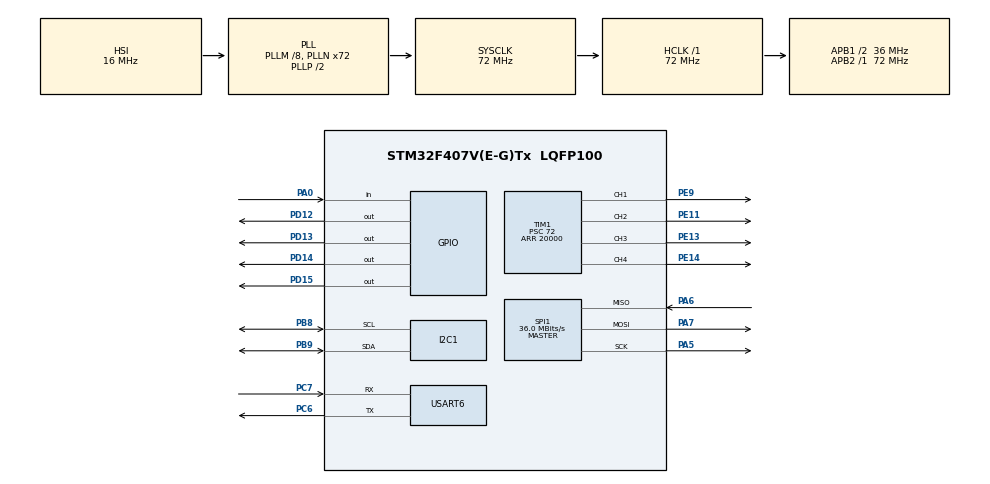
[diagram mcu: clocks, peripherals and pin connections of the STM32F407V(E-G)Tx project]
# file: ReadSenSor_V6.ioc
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I2C1.I2C_Mode=I2C_Fast
Mcu.Family=STM32F4
Mcu.Name=STM32F407V(E-G)Tx
Mcu.Package=LQFP100
NVIC.PriorityGroup=NVIC_PRIORITYGROUP_4
NVIC.TIM2_IRQn=true\:0\:0\:false\:false\:true\:true\:true\:true
PA0-WKUP.GPIO_PuPd=GPIO_PULLUP
PA0-WKUP.Signal=GPIO_Input
PA13.Mode=Serial_Wire
PA13.Signal=SYS_JTMS-SWDIO
PA14.Mode=Serial_Wire
PA14.Signal=SYS_JTCK-SWCLK
PA5.Mode=Full_Duplex_Master
PA5.Signal=SPI1_SCK
PA6.Mode=Full_Duplex_Master
PA6.Signal=SPI1_MISO
PA7.Mode=Full_Duplex_Master
PA7.Signal=SPI1_MOSI
PB8.Mode=I2C
PB8.Signal=I2C1_SCL
PB9.Mode=I2C
PB9.Signal=I2C1_SDA
PC6.Mode=Asynchronous
PC6.Signal=USART6_TX
PC7.Mode=Asynchronous
PC7.Signal=USART6_RX
PD12.Signal=GPIO_Output
PD13.Signal=GPIO_Output
PD14.Signal=GPIO_Output
PD15.Signal=GPIO_Output
PE11.Signal=S_TIM1_CH2
PE13.Signal=S_TIM1_CH3
PE14.Signal=S_TIM1_CH4
PE9.Signal=S_TIM1_CH1
PH0-OSC_IN.Mode=HSE-External-Oscillator
PH0-OSC_IN.Signal=RCC_OSC_IN
PH1-OSC_OUT.Mode=HSE-External-Oscillator
PH1-OSC_OUT.Signal=RCC_OSC_OUT
ProjectManager.HeapSize=0x200
ProjectManager.StackSize=0x400
ProjectManager.TargetToolchain=MDK-ARM V5.32
RCC.48MHZClocksFreq_Value=36000000
RCC.AHBFreq_Value=72000000
RCC.APB1CLKDivider=RCC_HCLK_DIV2
RCC.APB1Freq_Value=36000000
RCC.APB1TimFreq_Value=72000000
RCC.APB2Freq_Value=72000000
RCC.APB2TimFreq_Value=72000000
RCC.CortexFreq_Value=72000000
RCC.HCLKFreq_Value=72000000
RCC.HSE_VALUE=25000000
RCC.HSI_VALUE=16000000
RCC.LSE_VALUE=32768
RCC.PLLM=8
RCC.PLLN=72
RCC.SYSCLKFreq_VALUE=72000000
RCC.SYSCLKSource=RCC_SYSCLKSOURCE_PLLCLK
RCC.VCOOutputFreq_Value=144000000
SH.S_TIM1_CH1.0=TIM1_CH1,PWM Generation1 CH1
SH.S_TIM1_CH2.0=TIM1_CH2,PWM Generation2 CH2
SH.S_TIM1_CH3.0=TIM1_CH3,PWM Generation3 CH3
SH.S_TIM1_CH4.0=TIM1_CH4,PWM Generation4 CH4
SPI1.CalculateBaudRate=36.0 MBits/s
SPI1.Direction=SPI_DIRECTION_2LINES
SPI1.Mode=SPI_MODE_MASTER
SPI1.VirtualType=VM_MASTER
TIM1.AutoReloadPreload=TIM_AUTORELOAD_PRELOAD_ENABLE
TIM1.Channel-PWM\ Generation1\ CH1=TIM_CHANNEL_1
TIM1.Channel-PWM\ Generation2\ CH2=TIM_CHANNEL_2
TIM1.Channel-PWM\ Generation3\ CH3=TIM_CHANNEL_3
TIM1.Channel-PWM\ Generation4\ CH4=TIM_CHANNEL_4
TIM1.Period=20000
TIM1.Prescaler=72
TIM1.Pulse-PWM\ Generation1\ CH1=955
TIM1.Pulse-PWM\ Generation2\ CH2=955
TIM1.Pulse-PWM\ Generation3\ CH3=955
TIM1.Pulse-PWM\ Generation4\ CH4=955
TIM2.Period=72000000
USART6.VirtualMode=VM_ASYNC
VP_TIM1_VS_ClockSourceINT.Mode=Internal
VP_TIM2_VS_ClockSourceINT.Mode=Internal
board=custom

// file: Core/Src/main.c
/* USER CODE BEGIN Header */
/**
  ******************************************************************************
  * @file           : main.c
  * @brief          : Main program body
  ******************************************************************************
  * @attention
  *
  * Copyright (c) 2023 STMicroelectronics.
  * All rights reserved.
  *
  * This software is licensed under terms that can be found in the LICENSE file
  * in the root directory of this software component.
  * If no LICENSE file comes with this software, it is provided AS-IS.
  *
  ******************************************************************************
  */
/* USER CODE END Header */
#include "main.h"
#include "i2c.h"
#include "spi.h"
#include "tim.h"
#include "usart.h"
#include "gpio.h"

/* USER CODE BEGIN Includes */
#include "code.h"
/* USER CODE END Includes */

/* USER CODE BEGIN PV */

int enable = 0;
//Sensor
MPU6050_t MPU6050;
MPU6050_t MPU6050_LP;
MS5611_t MS5611;
//Lowpass
Lowpass_t LP_height = {0};
//Quaternions
Quaternion_t Q_est = {1,0,0,0};
//Brushless
Motor_t M1 = {
	.Duty = 0,
	.Duty_base = 15,
	.Duty_min = 955,
	.Duty_max = 1400,
};
Motor_t M2 = {
	.Duty = 0,
	.Duty_base = 15,
	.Duty_min = 955,
	.Duty_max = 1400,
};
Motor_t M3 = {
	.Duty = 0,
	.Duty_base = 15,
	.Duty_min = 955,
	.Duty_max = 1400,
};
Motor_t M4 = {
	.Duty = 0,
	.Duty_base = 15,
	.Duty_min = 955,
	.Duty_max = 1400,
};
//PID
PID_t PID_roll = {
	.Kp = 0,
	.Ki = 0,
	.Kd = 0,
	.e = 0,
	.e_pre = 0,
	.v_e = 0,
	.e_i = 0,
	.range = 0,
	.Upper_limit = 100,
	.Lower_limit = -100,
};
PID_t PID_pitch = {
	.Kp = 0,
	.Ki = 0,
	.Kd = 0,
	.e = 0,
	.e_pre = 0,
	.v_e = 0,
	.e_i = 0,
	.range = 1,
	.Upper_limit = 100,
	.Lower_limit = -100,
};
PID_t PID_yaw = {
	.Kp = 0,
	.Ki = 0,
	.Kd = 0,
	.e = 0,
	.e_pre = 0,
	.v_e = 0,
	.e_i = 0,
	.range = 0,
	.Upper_limit = 100,
	.Lower_limit = -100,
};
PID_t PID_height = {
	.Kp = 0,
	.Ki = 0,
	.Kd = 0,
	.e = 0,
	.e_pre = 0,
	.v_e = 0,
	.e_i = 0,
	.range = 0,
	.Upper_limit = 100,
	.Lower_limit = -100,
};
//Angle
Euler_t angle = {
	.roll 	= 0,
	.pitch 	= 0,
	.yaw 		= 0,
};
Euler_t Madgwick = {
	.roll 	= 0,
	.pitch 	= 0,
	.yaw 		= 0,
};
Euler_t Setpoint = {
	.roll 	= 0,
	.pitch	= 0,
	.yaw 		= 0,
};
Euler_t Offfset = {
	.roll 	= 0,
	.pitch 	= 0,
	.yaw	 	= 0,
};
//Height
double height;
double SetPoint_height = 0;
double Offset_height = 0;
/* USER CODE END PV */

void SystemClock_Config(void);

int main(void)
{

  /* MCU Configuration--------------------------------------------------------*/

  /* Reset of all peripherals, Initializes the Flash interface and the Systick. */
  HAL_Init();

  /* Configure the system clock */
  SystemClock_Config();

  /* Initialize all configured peripherals */
  MX_GPIO_Init();
  MX_I2C1_Init();
  MX_SPI1_Init();
  MX_TIM1_Init();
  MX_TIM2_Init();
  MX_USART6_UART_Init();
  /* USER CODE BEGIN 2 */
	while (MPU6050_Init(&hi2c1) == 1);
	MPU6050_Bypass(&hi2c1);
	HMC5883L_Init(&hi2c1);
	MPU6050_Master(&hi2c1);
	MPU6050_Addslave(&hi2c1);
	MS5611_init(&hi2c1,&MS5611);
	setupESC(&htim1);
	HAL_TIM_Base_Start_IT(&htim2);
  /* USER CODE END 2 */

  /* Infinite loop */
  while (1)
  {

  }
}

void SystemClock_Config(void)
{
  RCC_OscInitTypeDef RCC_OscInitStruct = {0};
  RCC_ClkInitTypeDef RCC_ClkInitStruct = {0};

  /** Configure the main internal regulator output voltage
  */
  __HAL_RCC_PWR_CLK_ENABLE();
  __HAL_PWR_VOLTAGESCALING_CONFIG(PWR_REGULATOR_VOLTAGE_SCALE1);

  /** Initializes the RCC Oscillators according to the specified parameters
  * in the RCC_OscInitTypeDef structure.
  */
  RCC_OscInitStruct.OscillatorType = RCC_OSCILLATORTYPE_HSI;
  RCC_OscInitStruct.HSIState = RCC_HSI_ON;
  RCC_OscInitStruct.HSICalibrationValue = RCC_HSICALIBRATION_DEFAULT;
  RCC_OscInitStruct.PLL.PLLState = RCC_PLL_ON;
  RCC_OscInitStruct.PLL.PLLSource = RCC_PLLSOURCE_HSI;
  RCC_OscInitStruct.PLL.PLLM = 8;
  RCC_OscInitStruct.PLL.PLLN = 72;
  RCC_OscInitStruct.PLL.PLLP = RCC_PLLP_DIV2;
  RCC_OscInitStruct.PLL.PLLQ = 4;
  if (HAL_RCC_OscConfig(&RCC_OscInitStruct) != HAL_OK)
  {
    Error_Handler();
  }

  /** Initializes the CPU, AHB and APB buses clocks
  */
  RCC_ClkInitStruct.ClockType = RCC_CLOCKTYPE_HCLK|RCC_CLOCKTYPE_SYSCLK
                              |RCC_CLOCKTYPE_PCLK1|RCC_CLOCKTYPE_PCLK2;
  RCC_ClkInitStruct.SYSCLKSource = RCC_SYSCLKSOURCE_PLLCLK;
  RCC_ClkInitStruct.AHBCLKDivider = RCC_SYSCLK_DIV1;
  RCC_ClkInitStruct.APB1CLKDivider = RCC_HCLK_DIV2;
  RCC_ClkInitStruct.APB2CLKDivider = RCC_HCLK_DIV1;

  if (HAL_RCC_ClockConfig(&RCC_ClkInitStruct, FLASH_LATENCY_2) != HAL_OK)
  {
    Error_Handler();
  }
}

/* USER CODE BEGIN 4 */
void HAL_TIM_PeriodElapsedCallback(TIM_HandleTypeDef *htim)
{
	if (htim->Instance == htim2.Instance)
	{
		// Read Data
		HAL_GPIO_TogglePin(GPIOD, GPIO_PIN_12);
		MPU6050_Read_All(&hi2c1, &MPU6050);
		MS5611_calculate(&hi2c1, &MS5611);
		//Filter
		Lowpass4MPU(MPU6050,&MPU6050_LP);
		Lowpass(MS5611.P,&LP_height,0.3);
		MPU2Angle(MPU6050_LP,&angle);
		Madgwick_update(&MPU6050_LP, &Q_est);
		//Caculator
		Quat2Angle(Q_est, &Madgwick);
		height = getAltitude(LP_height.out,101325);
//		//Control
//		float roll  =	PID_Control(Setpoint.roll,	Madgwick.roll,	&PID_roll); 	// 0 to 1000
//		float pitch = PID_Control(Setpoint.pitch,	Madgwick.pitch,	&PID_pitch);	// 0 to 1000
//		float yaw   = PID_Control(Setpoint.yaw,		Madgwick.yaw,		&PID_yaw);		// 0 to 1000
//		float Z     = PID_Control(SetPoint_height,			height,					&PID_height);	// 0 to 1000
//
//		Combining_Angle_height(&M1, &M2, &M3, &M4, roll, pitch, yaw, Z);//Duty = Duty_min + Duty_PID (Duty_min to Duty_max)
//		// Enable output PID
		if(enable)
		{
			ESC_Control(&htim1, M1.Duty+M1.Duty_base, M2.Duty_min, M3.Duty+M3.Duty_base, M4.Duty_min); // Duty + Duty_base
		}
		else
		{
			ESC_Control(&htim1, M1.Duty_min, M2.Duty_min, M3.Duty_min, M4.Duty_min); // Duty_min
		}
	}
}
/* USER CODE END 4 */

void Error_Handler(void)
{
  __disable_irq();
  while (1)
  {
  }
}
